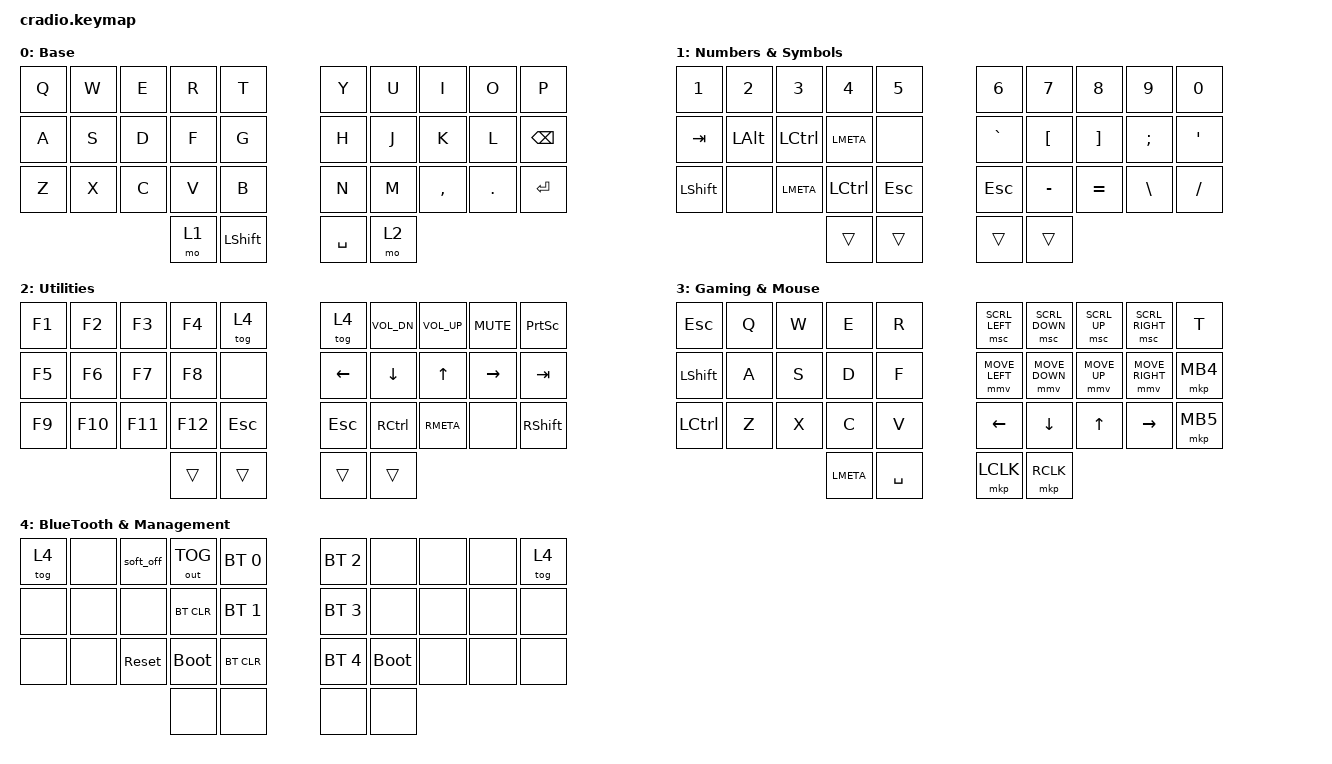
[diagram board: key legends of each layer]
// Copyright (c) 2022 The ZMK Contributors
// SPDX-License-Identifier: MIT

#define ZMK_POINTING_DEFAULT_MOVE_VAL 2500  // 600
#define ZMK_POINTING_DEFAULT_SCRL_VAL 20    // 10

#include <behaviors.dtsi>
#include <dt-bindings/zmk/bt.h>
#include <dt-bindings/zmk/keys.h>
#include <dt-bindings/zmk/outputs.h>
#include <dt-bindings/zmk/pointing.h>

// https://zmk.dev/docs/development/hardware-integration/soft-off-setup?advanced-methods=wakeup&kscan-type=dkscan

/ {
    keys {
        compatible = "gpio-keys";

        soft_off_gpio_key: soft_off_gpio_key { gpios = <&gpio1 6 (GPIO_ACTIVE_LOW | GPIO_PULL_UP)>; };
    };

    wakeup_scan: wakeup_scan {
        compatible = "zmk,kscan-gpio-direct";
        input-keys = <&soft_off_gpio_key>;
        wakeup-source;
    };

    side_band_behavior_triggers: side_band_behavior_triggers {
        compatible = "zmk,kscan-sideband-behaviors";
        kscan = <&wakeup_scan>;
        auto-enable;
        wakeup-source;
    };

    soft_off_wakers {
        compatible = "zmk,soft-off-wakeup-sources";
        wakeup-sources = <&wakeup_scan>;
    };
};

/ {
    behaviors {
        mmv {
            acceleration-exponent = <1>;      // 1
            time-to-max-speed-ms = <300>;    // 40
            delay-ms = <0>;                   // 0
        };

        msc {
            acceleration-exponent = <0>;      // 0
            time-to-max-speed-ms = <40>;      // 500
            delay-ms = <0>;                   // 10
        };
    };

    combos {
        compatible = "zmk,combos";

        toggle_double {
            timeout-ms = <300>;
            bindings = <&tog 3>;
            key-positions = <30 33>;
        };
    };

    keymap {
        compatible = "zmk,keymap";

        base_layer {
            display-name = "Base";
            bindings = <
&kp Q  &kp W  &kp E  &kp R  &kp T         &kp Y      &kp U  &kp I      &kp O    &kp P
&kp A  &kp S  &kp D  &kp F  &kp G         &kp H      &kp J  &kp K      &kp L    &kp BSPC
&kp Z  &kp X  &kp C  &kp V  &kp B         &kp N      &kp M  &kp COMMA  &kp DOT  &kp ENTER
                     &mo 1  &kp LSHIFT    &kp SPACE  &mo 2
            >;
        };

        left_layer {
            display-name = "Numbers & Symbols";
            bindings = <
&kp N1      &kp N2    &kp N3     &kp N4     &kp N5     &kp N6     &kp N7     &kp N8     &kp N9    &kp N0
&kp TAB     &kp LALT  &kp LCTRL  &kp LMETA  &none      &kp GRAVE  &kp LBKT   &kp RBKT   &kp SEMI  &kp SQT
&kp LSHIFT  &none     &kp LMETA  &kp LCTRL  &kp ESC    &kp ESC    &kp MINUS  &kp EQUAL  &kp BSLH  &kp FSLH
                                 &trans     &trans     &trans     &trans
            >;
        };

        right_layer {
            display-name = "Utilities";
            bindings = <
&kp F1  &kp F2   &kp F3   &kp F4   &tog 4     &tog 4   &kp C_VOL_DN  &kp C_VOL_UP  &kp C_MUTE  &kp PSCRN
&kp F5  &kp F6   &kp F7   &kp F8   &none      &kp LEFT &kp DOWN      &kp UP        &kp RIGHT   &kp TAB
&kp F9  &kp F10  &kp F11  &kp F12  &kp ESC    &kp ESC  &kp RCTRL     &kp RMETA     &none       &kp RSHIFT
                          &trans   &trans     &trans   &trans
            >;
        };

        double_layer {
            display-name = "Gaming & Mouse";
            bindings = <
&kp ESC     &kp Q  &kp W  &kp E      &kp R        &msc SCRL_LEFT  &msc SCRL_DOWN  &msc SCRL_UP  &msc SCRL_RIGHT  &kp T
&kp LSHIFT  &kp A  &kp S  &kp D      &kp F        &mmv MOVE_LEFT  &mmv MOVE_DOWN  &mmv MOVE_UP  &mmv MOVE_RIGHT  &mkp MB4
&kp LCTRL   &kp Z  &kp X  &kp C      &kp V        &kp LEFT        &kp DOWN        &kp UP        &kp RIGHT        &mkp MB5
                          &kp LMETA  &kp SPACE    &mkp LCLK       &mkp RCLK
            >;
        };

        bt_and_stuff {
            display-name = "BlueTooth & Management";
            bindings = <
&tog 4  &none  &soft_off        &out OUT_TOG  &bt BT_SEL 0    &bt BT_SEL 2  &none        &none  &none  &tog 4
&none   &none  &none            &bt BT_CLR    &bt BT_SEL 1    &bt BT_SEL 3  &none        &none  &none  &none
&none   &none  &sys_reset       &bootloader   &bt BT_CLR      &bt BT_SEL 4  &bootloader  &none  &none  &none
                                &none         &none           &none         &none
            >;
        };
    };
};
